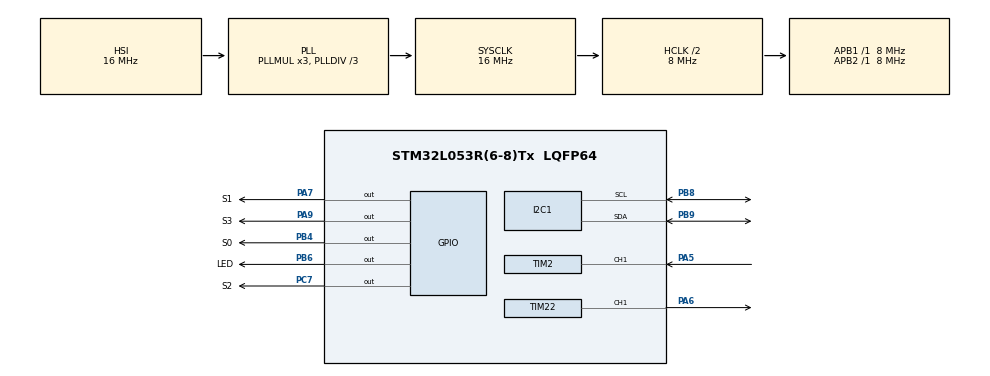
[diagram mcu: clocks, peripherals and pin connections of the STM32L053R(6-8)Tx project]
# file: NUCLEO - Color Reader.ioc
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I2C1.Timing=0x00201D2B
Mcu.Family=STM32L0
Mcu.Name=STM32L053R(6-8)Tx
Mcu.Package=LQFP64
NVIC.TIM2_IRQn=true\:0\:0\:false\:false\:true\:true\:true\:true
PA5.Signal=S_TIM2_CH1
PA6.Signal=S_TIM22_CH1
PA7.GPIO_Label=S1
PA7.Signal=GPIO_Output
PA9.GPIO_Label=S3
PA9.Signal=GPIO_Output
PB4.GPIO_Label=S0
PB4.Signal=GPIO_Output
PB6.GPIO_Label=LED
PB6.Signal=GPIO_Output
PB8.GPIO_Pu=GPIO_PULLUP
PB8.Mode=I2C
PB8.Signal=I2C1_SCL
PB9.GPIO_Pu=GPIO_PULLUP
PB9.Mode=I2C
PB9.Signal=I2C1_SDA
PC7.GPIO_Label=S2
PC7.Signal=GPIO_Output
ProjectManager.HeapSize=0x200
ProjectManager.StackSize=0x400
ProjectManager.TargetToolchain=STM32CubeIDE
RCC.AHBCLKDivider=RCC_SYSCLK_DIV2
RCC.AHBFreq_Value=8000000
RCC.APB1Freq_Value=8000000
RCC.APB1TimFreq_Value=8000000
RCC.APB2Freq_Value=8000000
RCC.APB2TimFreq_Value=8000000
RCC.HCLKFreq_Value=8000000
RCC.HSE_VALUE=8000000
RCC.HSI16_VALUE=16000000
RCC.HSI48_VALUE=48000000
RCC.HSI_VALUE=16000000
RCC.LSE_VALUE=32768
RCC.MSI_VALUE=2097000
RCC.PLLDIV=RCC_PLLDIV_3
RCC.SYSCLKFreq_VALUE=16000000
RCC.SYSCLKSource=RCC_SYSCLKSOURCE_PLLCLK
RCC.VCOOutputFreq_Value=48000000
SH.S_TIM22_CH1.0=TIM22_CH1,PWM Generation1 CH1
SH.S_TIM2_CH1.0=TIM2_CH1,Input_Capture1_from_TI1
TIM2.Channel-Input_Capture1_from_TI1=TIM_CHANNEL_1
TIM2.ICFilter_CH1=0
TIM2.ICPolarity_CH1=TIM_INPUTCHANNELPOLARITY_RISING
TIM2.Period=0xFFFF-1
TIM2.Prescaler=8-1
TIM22.AutoReloadPreload=TIM_AUTORELOAD_PRELOAD_ENABLE
TIM22.Channel-PWM\ Generation1\ CH1=TIM_CHANNEL_1
TIM22.OC1Preload_PWM=ENABLE
TIM22.Period=500-1
TIM22.Prescaler=8-1
TIM22.Pulse-PWM\ Generation1\ CH1=0
VP_TIM22_VS_ClockSourceINT.Mode=Internal
VP_TIM2_VS_ClockSourceINT.Mode=Internal
board=NUCLEO-L053R8

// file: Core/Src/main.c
/* USER CODE BEGIN Header */
/**
  ******************************************************************************
  * @file           : main.c
  * @brief          : Main program body
  ******************************************************************************
  * @attention
  *
  * Copyright (c) 2025 STMicroelectronics.
  * All rights reserved.
  *
  * This software is licensed under terms that can be found in the LICENSE file
  * in the root directory of this software component.
  * If no LICENSE file comes with this software, it is provided AS-IS.
  *
  ******************************************************************************
  */
/* USER CODE END Header */
#include "main.h"

/* USER CODE BEGIN Includes */
#include "math.h"
#include "stdio.h"
#include "stdlib.h"
#include "ssd1306.h"
#include "ssd1306_fonts.h"
#include "ssd1306_tests.h"
/* USER CODE END Includes */

/* USER CODE BEGIN PTD */
typedef enum{
	FIRST_COLECTION = 0,
	SECOND_COLECTION = 1
}IC_State_Typedef;

typedef struct{
	uint32_t IC_FirstGetter, IC_SecondGetter, IC_Difference;
	IC_State_Typedef IC_State;
	float IC_Frequency;
}IC_Typedef;
/* USER CODE END PTD */

/* USER CODE BEGIN PD */
#define CLK 8000000
#define PSC 8

#define CLK_BUZ (CLK / PSC)
#define DO (CLK_BUZ / 444)
/* USER CODE END PD */

I2C_HandleTypeDef hi2c1;

TIM_HandleTypeDef htim2;
TIM_HandleTypeDef htim22;

/* USER CODE BEGIN PV */
IC_Typedef Readder;
/* USER CODE END PV */

void SystemClock_Config(void);
static void MX_GPIO_Init(void);
static void MX_I2C1_Init(void);
static void MX_TIM2_Init(void);
static void MX_TIM22_Init(void);
/* USER CODE BEGIN PFP */
void HAL_TIM_IC_CaptureCallback(TIM_HandleTypeDef *htim){
	if(htim == &htim2){
		if(Readder.IC_State == FIRST_COLECTION) { // First colection logic
			Readder.IC_FirstGetter = HAL_TIM_ReadCapturedValue(htim, TIM_CHANNEL_1);
			Readder.IC_State = SECOND_COLECTION;
		}

		else { // Second colection logic
			Readder.IC_SecondGetter = HAL_TIM_ReadCapturedValue(htim, TIM_CHANNEL_1);
			Readder.IC_State = FIRST_COLECTION;

			if(Readder.IC_SecondGetter > Readder.IC_FirstGetter) {
				Readder.IC_Difference =  Readder.IC_SecondGetter - Readder.IC_FirstGetter;
			}

			else {
				Readder.IC_Difference = (0xFFFF - Readder.IC_FirstGetter) + Readder.IC_SecondGetter;
			}

			float refClock = CLK / PSC;

			Readder.IC_Frequency = refClock / Readder.IC_Difference;

			__HAL_TIM_SET_COUNTER(&htim2, 0);
			Readder.IC_State = FIRST_COLECTION;
		}

	}
}

void TCS3200_StartUp(void){
	// Led control indicative
	HAL_GPIO_WritePin(LED_GPIO_Port, LED_Pin, GPIO_PIN_RESET);
	HAL_Delay(100);
	HAL_GPIO_WritePin(LED_GPIO_Port, LED_Pin, GPIO_PIN_SET);
	HAL_Delay(100);
	HAL_GPIO_WritePin(LED_GPIO_Port, LED_Pin, GPIO_PIN_RESET);
	HAL_Delay(100);
	HAL_GPIO_WritePin(LED_GPIO_Port, LED_Pin, GPIO_PIN_SET);
	HAL_Delay(100);

	// Define frequency output
	HAL_GPIO_WritePin(S0_GPIO_Port, S0_Pin, GPIO_PIN_RESET);
	HAL_GPIO_WritePin(S1_GPIO_Port, S1_Pin, GPIO_PIN_SET);

}

void TCS3200_Interpreter(void){
	// Define selection of fotodiodo
	// R
	HAL_GPIO_WritePin(S2_GPIO_Port, S2_Pin, GPIO_PIN_RESET);
	HAL_GPIO_WritePin(S3_GPIO_Port, S3_Pin, GPIO_PIN_RESET);

	// G
	HAL_GPIO_WritePin(S2_GPIO_Port, S2_Pin, GPIO_PIN_SET);
	HAL_GPIO_WritePin(S3_GPIO_Port, S3_Pin, GPIO_PIN_SET);

	// B
	HAL_GPIO_WritePin(S2_GPIO_Port, S2_Pin, GPIO_PIN_RESET);
	HAL_GPIO_WritePin(S3_GPIO_Port, S3_Pin, GPIO_PIN_SET);
}
/* USER CODE END PFP */

int main(void)
{

  /* MCU Configuration--------------------------------------------------------*/

  /* Reset of all peripherals, Initializes the Flash interface and the Systick. */
  HAL_Init();

  /* Configure the system clock */
  SystemClock_Config();

  /* Initialize all configured peripherals */
  MX_GPIO_Init();
  MX_I2C1_Init();
  MX_TIM2_Init();
  MX_TIM22_Init();
  /* USER CODE BEGIN 2 */
//  HAL_TIM_IC_Start_IT(&htim2, TIM_CHANNEL_1);
  HAL_TIM_Base_Start(&htim22);
  HAL_TIM_PWM_Start(&htim22, TIM_CHANNEL_1);

  TIM22->ARR = DO;
  TIM22->CCR1 = TIM21->ARR / 2;

//  TCS3200_StartUp();
  /* USER CODE END 2 */

  /* Infinite loop */
  /* USER CODE BEGIN WHILE */
  while (1) {
	TCS3200_Interpreter();

    /* USER CODE END WHILE */

  }
}

void SystemClock_Config(void)
{
  RCC_OscInitTypeDef RCC_OscInitStruct = {0};
  RCC_ClkInitTypeDef RCC_ClkInitStruct = {0};
  RCC_PeriphCLKInitTypeDef PeriphClkInit = {0};

  /** Configure the main internal regulator output voltage
  */
  __HAL_PWR_VOLTAGESCALING_CONFIG(PWR_REGULATOR_VOLTAGE_SCALE1);

  /** Initializes the RCC Oscillators according to the specified parameters
  * in the RCC_OscInitTypeDef structure.
  */
  RCC_OscInitStruct.OscillatorType = RCC_OSCILLATORTYPE_HSI;
  RCC_OscInitStruct.HSIState = RCC_HSI_ON;
  RCC_OscInitStruct.HSICalibrationValue = RCC_HSICALIBRATION_DEFAULT;
  RCC_OscInitStruct.PLL.PLLState = RCC_PLL_ON;
  RCC_OscInitStruct.PLL.PLLSource = RCC_PLLSOURCE_HSI;
  RCC_OscInitStruct.PLL.PLLMUL = RCC_PLLMUL_3;
  RCC_OscInitStruct.PLL.PLLDIV = RCC_PLLDIV_3;
  if (HAL_RCC_OscConfig(&RCC_OscInitStruct) != HAL_OK)
  {
    Error_Handler();
  }

  /** Initializes the CPU, AHB and APB buses clocks
  */
  RCC_ClkInitStruct.ClockType = RCC_CLOCKTYPE_HCLK|RCC_CLOCKTYPE_SYSCLK
                              |RCC_CLOCKTYPE_PCLK1|RCC_CLOCKTYPE_PCLK2;
  RCC_ClkInitStruct.SYSCLKSource = RCC_SYSCLKSOURCE_PLLCLK;
  RCC_ClkInitStruct.AHBCLKDivider = RCC_SYSCLK_DIV2;
  RCC_ClkInitStruct.APB1CLKDivider = RCC_HCLK_DIV1;
  RCC_ClkInitStruct.APB2CLKDivider = RCC_HCLK_DIV1;

  if (HAL_RCC_ClockConfig(&RCC_ClkInitStruct, FLASH_LATENCY_0) != HAL_OK)
  {
    Error_Handler();
  }
  PeriphClkInit.PeriphClockSelection = RCC_PERIPHCLK_I2C1;
  PeriphClkInit.I2c1ClockSelection = RCC_I2C1CLKSOURCE_PCLK1;
  if (HAL_RCCEx_PeriphCLKConfig(&PeriphClkInit) != HAL_OK)
  {
    Error_Handler();
  }
}

static void MX_I2C1_Init(void)
{

  hi2c1.Instance = I2C1;
  hi2c1.Init.Timing = 0x00201D2B;
  hi2c1.Init.OwnAddress1 = 0;
  hi2c1.Init.AddressingMode = I2C_ADDRESSINGMODE_7BIT;
  hi2c1.Init.DualAddressMode = I2C_DUALADDRESS_DISABLE;
  hi2c1.Init.OwnAddress2 = 0;
  hi2c1.Init.OwnAddress2Masks = I2C_OA2_NOMASK;
  hi2c1.Init.GeneralCallMode = I2C_GENERALCALL_DISABLE;
  hi2c1.Init.NoStretchMode = I2C_NOSTRETCH_DISABLE;
  if (HAL_I2C_Init(&hi2c1) != HAL_OK)
  {
    Error_Handler();
  }

  /** Configure Analogue filter
  */
  if (HAL_I2CEx_ConfigAnalogFilter(&hi2c1, I2C_ANALOGFILTER_ENABLE) != HAL_OK)
  {
    Error_Handler();
  }

  /** Configure Digital filter
  */
  if (HAL_I2CEx_ConfigDigitalFilter(&hi2c1, 0) != HAL_OK)
  {
    Error_Handler();
  }

}

static void MX_TIM2_Init(void)
{

  TIM_ClockConfigTypeDef sClockSourceConfig = {0};
  TIM_MasterConfigTypeDef sMasterConfig = {0};
  TIM_IC_InitTypeDef sConfigIC = {0};

  htim2.Instance = TIM2;
  htim2.Init.Prescaler = 8-1;
  htim2.Init.CounterMode = TIM_COUNTERMODE_UP;
  htim2.Init.Period = 0xFFFF-1;
  htim2.Init.ClockDivision = TIM_CLOCKDIVISION_DIV1;
  htim2.Init.AutoReloadPreload = TIM_AUTORELOAD_PRELOAD_DISABLE;
  if (HAL_TIM_Base_Init(&htim2) != HAL_OK)
  {
    Error_Handler();
  }
  sClockSourceConfig.ClockSource = TIM_CLOCKSOURCE_INTERNAL;
  if (HAL_TIM_ConfigClockSource(&htim2, &sClockSourceConfig) != HAL_OK)
  {
    Error_Handler();
  }
  if (HAL_TIM_IC_Init(&htim2) != HAL_OK)
  {
    Error_Handler();
  }
  sMasterConfig.MasterOutputTrigger = TIM_TRGO_RESET;
  sMasterConfig.MasterSlaveMode = TIM_MASTERSLAVEMODE_DISABLE;
  if (HAL_TIMEx_MasterConfigSynchronization(&htim2, &sMasterConfig) != HAL_OK)
  {
    Error_Handler();
  }
  sConfigIC.ICPolarity = TIM_INPUTCHANNELPOLARITY_RISING;
  sConfigIC.ICSelection = TIM_ICSELECTION_DIRECTTI;
  sConfigIC.ICPrescaler = TIM_ICPSC_DIV1;
  sConfigIC.ICFilter = 0;
  if (HAL_TIM_IC_ConfigChannel(&htim2, &sConfigIC, TIM_CHANNEL_1) != HAL_OK)
  {
    Error_Handler();
  }

}

static void MX_TIM22_Init(void)
{

  TIM_ClockConfigTypeDef sClockSourceConfig = {0};
  TIM_MasterConfigTypeDef sMasterConfig = {0};
  TIM_OC_InitTypeDef sConfigOC = {0};

  htim22.Instance = TIM22;
  htim22.Init.Prescaler = 8-1;
  htim22.Init.CounterMode = TIM_COUNTERMODE_UP;
  htim22.Init.Period = 500-1;
  htim22.Init.ClockDivision = TIM_CLOCKDIVISION_DIV1;
  htim22.Init.AutoReloadPreload = TIM_AUTORELOAD_PRELOAD_ENABLE;
  if (HAL_TIM_Base_Init(&htim22) != HAL_OK)
  {
    Error_Handler();
  }
  sClockSourceConfig.ClockSource = TIM_CLOCKSOURCE_INTERNAL;
  if (HAL_TIM_ConfigClockSource(&htim22, &sClockSourceConfig) != HAL_OK)
  {
    Error_Handler();
  }
  if (HAL_TIM_PWM_Init(&htim22) != HAL_OK)
  {
    Error_Handler();
  }
  sMasterConfig.MasterOutputTrigger = TIM_TRGO_RESET;
  sMasterConfig.MasterSlaveMode = TIM_MASTERSLAVEMODE_DISABLE;
  if (HAL_TIMEx_MasterConfigSynchronization(&htim22, &sMasterConfig) != HAL_OK)
  {
    Error_Handler();
  }
  sConfigOC.OCMode = TIM_OCMODE_PWM1;
  sConfigOC.Pulse = 0;
  sConfigOC.OCPolarity = TIM_OCPOLARITY_HIGH;
  sConfigOC.OCFastMode = TIM_OCFAST_DISABLE;
  if (HAL_TIM_PWM_ConfigChannel(&htim22, &sConfigOC, TIM_CHANNEL_1) != HAL_OK)
  {
    Error_Handler();
  }
  HAL_TIM_MspPostInit(&htim22);

}

static void MX_GPIO_Init(void)
{
  GPIO_InitTypeDef GPIO_InitStruct = {0};

  /* GPIO Ports Clock Enable */
  __HAL_RCC_GPIOA_CLK_ENABLE();
  __HAL_RCC_GPIOC_CLK_ENABLE();
  __HAL_RCC_GPIOB_CLK_ENABLE();

  /*Configure GPIO pin Output Level */
  HAL_GPIO_WritePin(GPIOA, S1_Pin|S3_Pin, GPIO_PIN_RESET);

  /*Configure GPIO pin Output Level */
  HAL_GPIO_WritePin(S2_GPIO_Port, S2_Pin, GPIO_PIN_RESET);

  /*Configure GPIO pin Output Level */
  HAL_GPIO_WritePin(GPIOB, S0_Pin|LED_Pin, GPIO_PIN_RESET);

  /*Configure GPIO pins : S1_Pin S3_Pin */
  GPIO_InitStruct.Pin = S1_Pin|S3_Pin;
  GPIO_InitStruct.Mode = GPIO_MODE_OUTPUT_PP;
  GPIO_InitStruct.Pull = GPIO_NOPULL;
  GPIO_InitStruct.Speed = GPIO_SPEED_FREQ_LOW;
  HAL_GPIO_Init(GPIOA, &GPIO_InitStruct);

  /*Configure GPIO pin : S2_Pin */
  GPIO_InitStruct.Pin = S2_Pin;
  GPIO_InitStruct.Mode = GPIO_MODE_OUTPUT_PP;
  GPIO_InitStruct.Pull = GPIO_NOPULL;
  GPIO_InitStruct.Speed = GPIO_SPEED_FREQ_LOW;
  HAL_GPIO_Init(S2_GPIO_Port, &GPIO_InitStruct);

  /*Configure GPIO pins : S0_Pin LED_Pin */
  GPIO_InitStruct.Pin = S0_Pin|LED_Pin;
  GPIO_InitStruct.Mode = GPIO_MODE_OUTPUT_PP;
  GPIO_InitStruct.Pull = GPIO_NOPULL;
  GPIO_InitStruct.Speed = GPIO_SPEED_FREQ_LOW;
  HAL_GPIO_Init(GPIOB, &GPIO_InitStruct);

}

void Error_Handler(void)
{
  __disable_irq();
  while (1)
  {
  }
}
